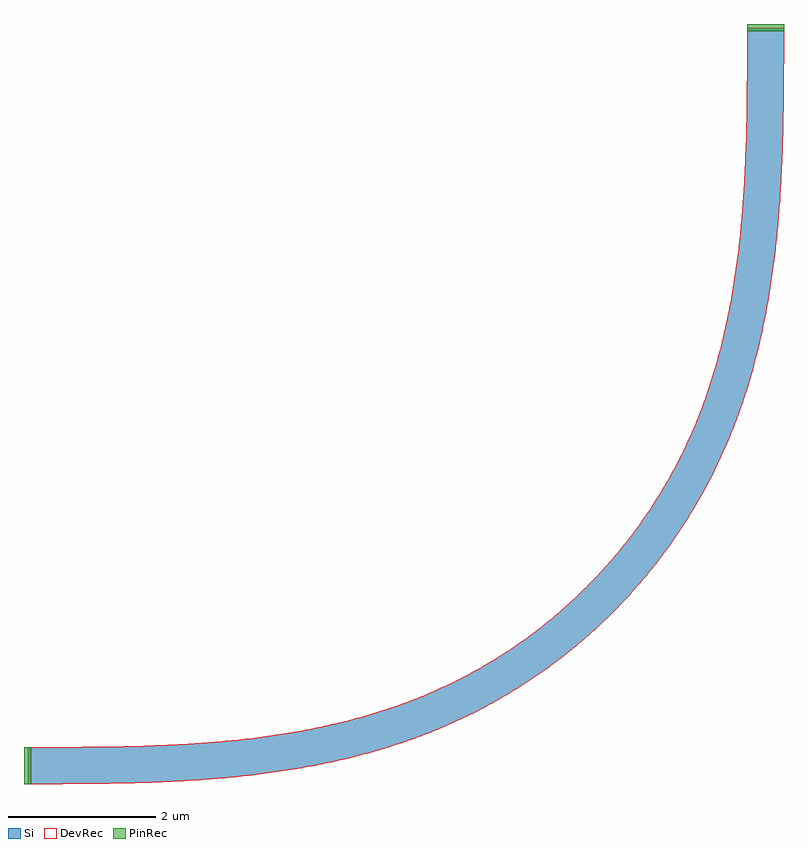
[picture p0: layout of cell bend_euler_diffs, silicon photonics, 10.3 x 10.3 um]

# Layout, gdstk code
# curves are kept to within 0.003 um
import gdstk
lib = gdstk.Library(unit=1e-6, precision=1e-09)
def P(c, l, *ps):  # polygons
    for p in ps: c.add(gdstk.Polygon(p, *l))
Si = (1, 0)
PinRec = (1, 10)
DevRec = (68, 0)

bend_euler_old = lib.new_cell('bend_euler_old')
P(bend_euler_old, Si, [(0.047,-0.25),(0.935,-0.247),(1.686,-0.23),(2.346,-0.196),(2.724,-0.165),(3.007,-0.136),(3.337,-0.094),(3.573,-0.058),(3.948,0.009),(4.229,0.069),(4.508,0.137),(4.739,0.201),(5.014,0.286),(5.261,0.372),(3.041,0.372),(2.814,0.346),(2.449,0.313),(2.128,0.291),(1.761,0.273),(1.346,0.26),(0.929,0.253),(0,0.25),(0,-0.25)],
  [(5.287,0.382),(5.691,0.544),(5.912,0.645),(6.13,0.754),(6.512,0.967),(6.841,1.176),(7.04,1.315),(7.196,1.431),(7.387,1.582),(7.536,1.707),(7.859,2.003),(8.117,2.268),(7.412,2.268),(7.175,2.056),(6.857,1.801),(6.599,1.616),(6.333,1.444),(6.059,1.283),(5.778,1.136),(5.449,0.984),(5.156,0.866),(4.944,0.79),(4.729,0.72),(4.469,0.645),(4.206,0.577),(3.896,0.509),(3.583,0.45),(3.313,0.408),(3.041,0.372),(5.261,0.372)],
  [(8.13,2.282),(8.293,2.464),(8.479,2.689),(8.627,2.881),(8.797,3.119),(9.033,3.488),(9.201,3.784),(9.29,3.957),(9.396,4.176),(9.513,4.444),(9.602,4.668),(9.683,4.894),(9.743,5.077),(9.838,5.4),(9.898,5.632),(9.962,5.911),(9.45,5.911),(9.379,5.619),(9.306,5.357),(9.239,5.142),(9.134,4.844),(9.034,4.593),(8.961,4.427),(8.844,4.182),(8.717,3.941),(8.58,3.706),(8.434,3.476),(8.253,3.216),(8.116,3.035),(7.944,2.825),(7.763,2.621),(7.575,2.425),(7.412,2.268),(8.117,2.268)],
  [(9.972,5.958),(10.058,6.427),(10.113,6.804),(10.156,7.182),(10.196,7.654),(10.218,8.031),(10.236,8.502),(10.247,9.065),(10.25,10),(9.75,10),(9.749,9.303),(9.74,8.654),(9.721,8.101),(9.694,7.643),(9.654,7.186),(9.605,6.778),(9.55,6.417),(9.509,6.194),(9.45,5.911),(9.962,5.911)])
bend_euler_old.add(gdstk.FlexPath([(0.05,0),(-0.05,0)], 0.5, ends="flush", simple_path=True, layer=1, datatype=10))  # PinRec
bend_euler_old.add(gdstk.FlexPath([(10,9.95),(10,10.05)], 0.5, ends="flush", simple_path=True, layer=1, datatype=10))  # PinRec
bend_euler_old.add(gdstk.Label('o1', (0,0), layer=1, texttype=10))
bend_euler_old.add(gdstk.Label('o2', (10,10), layer=1, texttype=10))

bend_euler_new = lib.new_cell('bend_euler_new')
P(bend_euler_new, Si, [(0.047,-0.25),(0.935,-0.247),(1.686,-0.23),(2.346,-0.196),(2.724,-0.165),(3.007,-0.136),(3.337,-0.094),(3.573,-0.058),(3.948,0.009),(4.229,0.069),(4.508,0.137),(4.739,0.201),(5.014,0.286),(5.261,0.372),(3.041,0.372),(2.814,0.346),(2.449,0.313),(2.128,0.291),(1.761,0.273),(1.346,0.26),(0.929,0.253),(0,0.25),(0,-0.25)],
  [(5.287,0.382),(5.691,0.544),(5.912,0.645),(6.13,0.754),(6.512,0.967),(6.841,1.176),(7.04,1.315),(7.196,1.431),(7.387,1.582),(7.536,1.707),(7.859,2.003),(8.117,2.268),(7.412,2.268),(7.175,2.056),(6.857,1.801),(6.599,1.616),(6.333,1.444),(6.059,1.283),(5.778,1.136),(5.449,0.984),(5.156,0.866),(4.944,0.79),(4.729,0.72),(4.469,0.645),(4.206,0.577),(3.896,0.509),(3.583,0.45),(3.313,0.408),(3.041,0.372),(5.261,0.372)],
  [(8.13,2.282),(8.293,2.464),(8.479,2.689),(8.627,2.881),(8.797,3.119),(9.033,3.488),(9.201,3.784),(9.29,3.957),(9.396,4.176),(9.513,4.444),(9.602,4.668),(9.683,4.894),(9.743,5.077),(9.838,5.4),(9.898,5.632),(9.962,5.911),(9.45,5.911),(9.379,5.619),(9.306,5.357),(9.239,5.142),(9.134,4.844),(9.034,4.593),(8.961,4.427),(8.844,4.182),(8.717,3.941),(8.58,3.706),(8.434,3.476),(8.253,3.216),(8.116,3.035),(7.944,2.825),(7.763,2.621),(7.575,2.425),(7.412,2.268),(8.117,2.268)],
  [(9.972,5.958),(10.058,6.427),(10.113,6.804),(10.156,7.182),(10.196,7.654),(10.218,8.031),(10.236,8.502),(10.247,9.065),(10.25,10),(9.75,10),(9.749,9.303),(9.74,8.654),(9.721,8.101),(9.694,7.643),(9.654,7.186),(9.605,6.778),(9.55,6.417),(9.509,6.194),(9.45,5.911),(9.962,5.911)])
P(bend_euler_new, DevRec, [(0.047,-0.25),(0.935,-0.247),(1.686,-0.23),(2.346,-0.196),(2.724,-0.165),(3.007,-0.136),(3.337,-0.094),(3.573,-0.058),(3.948,0.009),(4.229,0.069),(4.508,0.137),(4.739,0.201),(5.014,0.286),(5.261,0.372),(3.041,0.372),(2.814,0.346),(2.449,0.313),(2.128,0.291),(1.761,0.273),(1.346,0.26),(0.929,0.253),(0,0.25),(0,-0.25)],
  [(5.287,0.382),(5.691,0.544),(5.912,0.645),(6.13,0.754),(6.512,0.967),(6.841,1.176),(7.04,1.315),(7.196,1.431),(7.387,1.582),(7.536,1.707),(7.859,2.003),(8.117,2.268),(7.412,2.268),(7.175,2.056),(6.857,1.801),(6.599,1.616),(6.333,1.444),(6.059,1.283),(5.778,1.136),(5.449,0.984),(5.156,0.866),(4.944,0.79),(4.729,0.72),(4.469,0.645),(4.206,0.577),(3.896,0.509),(3.583,0.45),(3.313,0.408),(3.041,0.372),(5.261,0.372)],
  [(8.13,2.282),(8.293,2.464),(8.479,2.689),(8.627,2.881),(8.797,3.119),(9.033,3.488),(9.201,3.784),(9.29,3.957),(9.396,4.176),(9.513,4.444),(9.602,4.668),(9.683,4.894),(9.743,5.077),(9.838,5.4),(9.898,5.632),(9.962,5.911),(9.45,5.911),(9.379,5.619),(9.306,5.357),(9.239,5.142),(9.134,4.844),(9.034,4.593),(8.961,4.427),(8.844,4.182),(8.717,3.941),(8.58,3.706),(8.434,3.476),(8.253,3.216),(8.116,3.035),(7.944,2.825),(7.763,2.621),(7.575,2.425),(7.412,2.268),(8.117,2.268)],
  [(9.972,5.958),(10.058,6.427),(10.113,6.804),(10.156,7.182),(10.196,7.654),(10.218,8.031),(10.236,8.502),(10.247,9.065),(10.25,10),(9.75,10),(9.749,9.303),(9.74,8.654),(9.721,8.101),(9.694,7.643),(9.654,7.186),(9.605,6.778),(9.55,6.417),(9.509,6.194),(9.45,5.911),(9.962,5.911)])
bend_euler_new.add(gdstk.FlexPath([(0.05,0),(-0.05,0)], 0.5, ends="flush", simple_path=True, layer=1, datatype=10))  # PinRec
bend_euler_new.add(gdstk.FlexPath([(10,9.95),(10,10.05)], 0.5, ends="flush", simple_path=True, layer=1, datatype=10))  # PinRec
bend_euler_new.add(gdstk.Label('o1', (0,0), layer=1, texttype=10))
bend_euler_new.add(gdstk.Label('o2', (10,10), layer=1, texttype=10))

bend_euler_diffs = lib.new_cell('bend_euler_diffs')
bend_euler_diffs.add(gdstk.Reference(bend_euler_old, (0,0)))
bend_euler_diffs.add(gdstk.Reference(bend_euler_new, (0,0)))

lib.write_gds('bend_euler_diffs.gds')
